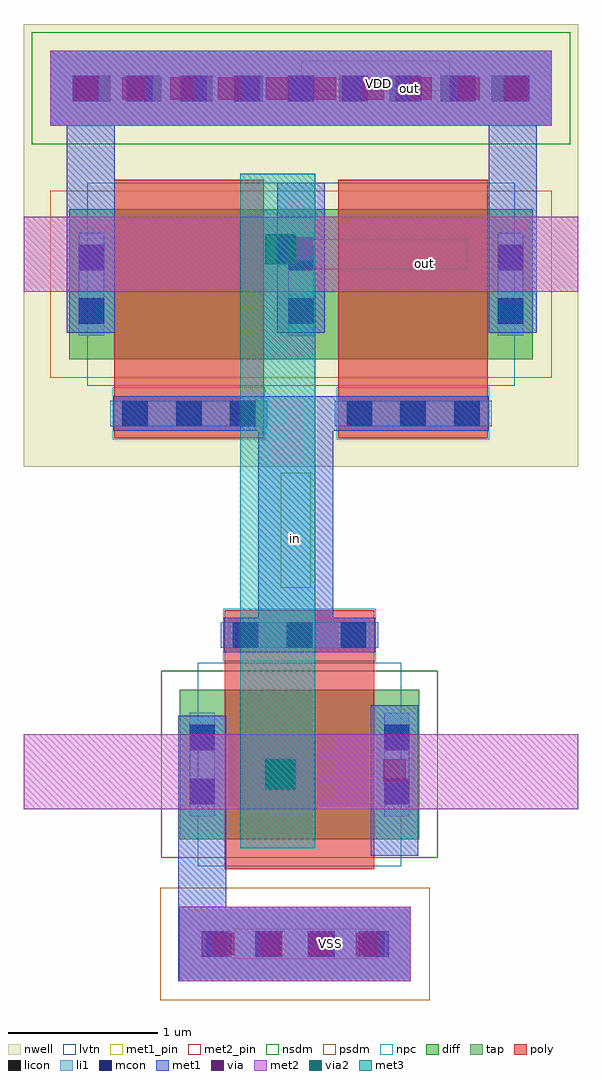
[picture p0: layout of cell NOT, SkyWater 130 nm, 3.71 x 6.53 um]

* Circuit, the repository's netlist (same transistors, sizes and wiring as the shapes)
** sch_path: /foss/designs/BGR_FTK/NOT.sch
.subckt NOT vdd vss in out
*.iopin vdd
*.iopin vss
*.ipin in
*.opin out
XM6 out in vss vss sky130_fd_pr__nfet_01v8_lvt L=1 W=1 nf=1 ad=0.29 as=0.29 pd=2.58 ps=2.58 nrd=0.29 nrs=0.29 sa=0 sb=0 sd=0
+ mult=1
XM1 out in vdd vdd sky130_fd_pr__pfet_01v8_lvt L=1 W=2 nf=2 ad=0.29 as=0.58 pd=2.58 ps=5.16 nrd=0.145 nrs=0.145 sa=0 sb=0 sd=0
+ mult=1
.ends
.end

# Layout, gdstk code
import gdstk
lib = gdstk.Library(unit=1e-6, precision=5e-09)
def R(c, l, rs):  # rectangles x0, y0, x1, y1
    for r in rs: c.add(gdstk.rectangle(r[:2], r[2:], *l))
def A(c, l, x, y, w, h, nx, ny, dx, dy):  # array of equal rectangles
    R(c, l, [(x+i*dx, y+j*dy, x+i*dx+w, y+j*dy+h) for i in range(nx) for j in range(ny)])
nwell = (64, 20)
diff = (65, 20)
tap = (65, 44)
poly = (66, 20)
licon = (66, 44)
li1 = (67, 20)
mcon = (67, 44)
met1_pin = (68, 16)
met1 = (68, 20)
via = (68, 44)
met2_pin = (69, 16)
met2 = (69, 20)
via2 = (69, 44)
met3 = (70, 20)
nsdm = (93, 44)
psdm = (94, 20)
npc = (95, 20)
lvtn = (125, 44)

nfet = lib.new_cell('nfet')
R(nfet, diff, [(0,0,1.6,1)])
R(nfet, poly, [(0.3,-0.2,1.3,1.2), (0.3,1.2,1.3,1.53)])
A(nfet, licon, 0.355, 1.28, 0.17, 0.17, 3, 1, 0.36, 0)
R(nfet, licon, [(0.065,0.235,0.235,0.405), (1.365,0.235,1.535,0.405), (0.065,0.595,0.235,0.765), (1.365,0.595,1.535,0.765)])
R(nfet, li1, [(0.065,0.155,0.235,0.845), (1.365,0.155,1.535,0.845), (0.275,1.28,1.325,1.45)])
A(nfet, mcon, 0.355, 1.28, 0.17, 0.17, 3, 1, 0.36, 0)
R(nfet, mcon, [(0.065,0.235,0.235,0.405), (1.365,0.235,1.535,0.405), (0.065,0.595,0.235,0.765), (1.365,0.595,1.535,0.765)])
R(nfet, met1, [(0.035,0.175,0.265,0.825), (1.335,0.175,1.565,0.825), (0.295,1.25,1.305,1.48)])
R(nfet, nsdm, [(-0.125,-0.125,1.725,1.125)])
R(nfet, npc, [(0.29,1.19,1.31,1.54)])
R(nfet, lvtn, [(0.12,-0.18,1.48,1.18)])

pfet = lib.new_cell('pfet')
R(pfet, nwell, [(-0.305,-0.72,3.405,1.38)])
R(pfet, diff, [(0,0,3.1,1)])
R(pfet, poly, [(0.3,-0.53,1.3,-0.2), (1.8,-0.53,2.8,-0.2), (0.3,-0.2,1.3,1.2), (1.8,-0.2,2.8,1.2)])
A(pfet, licon, 0.355, -0.45, 0.17, 0.17, 3, 1, 0.36, 0)
A(pfet, licon, 1.855, -0.45, 0.17, 0.17, 3, 1, 0.36, 0)
A(pfet, licon, 0.065, 0.235, 0.17, 0.17, 3, 2, 1.4, 0.36)
A(pfet, li1, 0.065, 0.155, 0.17, 0.69, 3, 1, 1.4, 0)
R(pfet, li1, [(0.275,-0.45,1.325,-0.28), (1.775,-0.45,2.825,-0.28)])
A(pfet, mcon, 0.355, -0.45, 0.17, 0.17, 3, 1, 0.36, 0)
A(pfet, mcon, 1.855, -0.45, 0.17, 0.17, 3, 1, 0.36, 0)
A(pfet, mcon, 0.065, 0.235, 0.17, 0.17, 3, 2, 1.4, 0.36)
A(pfet, met1, 0.035, 0.175, 0.23, 0.65, 3, 1, 1.4, 0)
R(pfet, met1, [(0.295,-0.48,1.305,-0.25), (1.795,-0.48,2.805,-0.25)])
R(pfet, psdm, [(-0.125,-0.125,3.225,1.125)])
R(pfet, npc, [(0.29,-0.54,1.31,-0.19), (1.79,-0.54,2.81,-0.19)])
R(pfet, lvtn, [(0.12,-0.18,2.98,1.18)])

vias_gen = lib.new_cell('vias_gen')
R(vias_gen, nwell, [(-0.18,-0.18,3.53,0.68)])
R(vias_gen, tap, [(0,0,3.35,0.5)])
A(vias_gen, licon, 0.23, 0.165, 0.17, 0.17, 9, 1, 0.34, 0)
R(vias_gen, li1, [(0,0,3.35,0.5)])
A(vias_gen, mcon, 0.15, 0.165, 0.17, 0.17, 9, 1, 0.36, 0)
R(vias_gen, met1, [(0,0,3.35,0.5)])
A(vias_gen, via, 0.16, 0.175, 0.15, 0.15, 10, 1, 0.32, 0)
R(vias_gen, met2, [(0,0,3.35,0.5)])
R(vias_gen, nsdm, [(-0.125,-0.125,3.475,0.625)])

vias_gen_7 = lib.new_cell('vias_gen$7')
R(vias_gen_7, tap, [(0,0,1.55,0.5)])
A(vias_gen_7, licon, 0.18, 0.165, 0.17, 0.17, 4, 1, 0.34, 0)
R(vias_gen_7, li1, [(0,0,1.55,0.5)])
A(vias_gen_7, mcon, 0.15, 0.165, 0.17, 0.17, 4, 1, 0.36, 0)
R(vias_gen_7, met1, [(0,0,1.55,0.5)])
A(vias_gen_7, via, 0.22, 0.175, 0.15, 0.15, 4, 1, 0.32, 0)
R(vias_gen_7, met2, [(0,0,1.55,0.5)])
R(vias_gen_7, psdm, [(-0.125,-0.125,1.675,0.625)])

vias_gen_4 = lib.new_cell('vias_gen$4')
R(vias_gen_4, met1, [(0,0,0.32,0.26)])
R(vias_gen_4, via, [(0.085,0.055,0.235,0.205)])
R(vias_gen_4, met2, [(0,0,0.32,0.26)])

vias_gen_6 = lib.new_cell('vias_gen$6')
R(vias_gen_6, met2, [(0,0,0.37,0.33)])
R(vias_gen_6, via2, [(0.085,0.065,0.285,0.265)])
R(vias_gen_6, met3, [(0,0,0.37,0.33)])

not_ = lib.new_cell('NOT')
not_.add(gdstk.FlexPath([(1.855,4.46),(1.855,5.465)], 0.32, ends="flush", simple_path=True, layer=68, datatype=20))  # met1
not_.add(gdstk.FlexPath([(0.45,4.46),(0.45,6.275)], 0.32, ends="flush", simple_path=True, layer=68, datatype=20))  # met1
not_.add(gdstk.FlexPath([(3.27,4.46),(3.27,6.275)], 0.32, ends="flush", simple_path=True, layer=68, datatype=20))  # met1
not_.add(gdstk.FlexPath([(1.195,1.9),(1.195,0.125)], 0.32, ends="flush", simple_path=True, layer=68, datatype=20))  # met1
not_.add(gdstk.FlexPath([(2.48,0.965),(2.48,1.97)], 0.32, ends="flush", simple_path=True, layer=68, datatype=20))  # met1
not_.add(gdstk.FlexPath([(2.105,3.92),(1.45,3.92)], 0.23, ends="flush", simple_path=True, layer=68, datatype=20))  # met1
not_.add(gdstk.FlexPath([(1.82,2.465),(1.82,3.92)], 0.5, ends="flush", simple_path=True, layer=68, datatype=20))  # met1
not_.add(gdstk.FlexPath([(0,4.985),(3.71,4.985)], 0.5, ends="flush", simple_path=True, layer=69, datatype=20))  # met2
not_.add(gdstk.FlexPath([(0,1.525),(3.71,1.525)], 0.5, ends="flush", simple_path=True, layer=69, datatype=20))  # met2
not_.add(gdstk.FlexPath([(1.7,5.525),(1.7,1.015)], 0.5, ends="flush", simple_path=True, layer=70, datatype=20))  # met3
not_.add(gdstk.FlexPath([(1.82,3.525),(1.82,2.755)], 0.2, ends="flush", simple_path=True, layer=68, datatype=16))  # met1_pin
not_.add(gdstk.FlexPath([(2.97,4.985),(1.855,4.985)], 0.2, ends="flush", simple_path=True, layer=69, datatype=16))  # met2_pin
not_.add(gdstk.FlexPath([(2.85,6.18),(1.855,6.18)], 0.2, ends="flush", simple_path=True, layer=69, datatype=16))  # met2_pin
not_.add(gdstk.FlexPath([(2.37,0.375),(1.41,0.375)], 0.2, ends="flush", simple_path=True, layer=69, datatype=16))  # met2_pin
not_.add(gdstk.Reference(nfet, (1.045,1.075)))
not_.add(gdstk.Reference(pfet, (0.305,4.285)))
not_.add(gdstk.Reference(vias_gen, (0.18,5.845)))
not_.add(gdstk.Reference(vias_gen_7, (1.04,0.125)))
not_.add(gdstk.Reference(vias_gen_4, (1.695,4.895)))
not_.add(gdstk.Reference(vias_gen_4, (2.32,1.405)))
not_.add(gdstk.Reference(vias_gen_6, (1.53,4.855)))
not_.add(gdstk.Reference(vias_gen_6, (1.53,1.345)))
not_.add(gdstk.Label('in', (1.82,3.085), layer=68, texttype=16))
not_.add(gdstk.Label('out', (2.68,4.925), layer=69, texttype=16))
not_.add(gdstk.Label('out', (2.58,6.095), layer=69, texttype=16))
not_.add(gdstk.Label('VDD', (2.37,6.125), layer=69, texttype=16))
not_.add(gdstk.Label('VSS', (2.05,0.375), layer=69, texttype=16))

lib.write_gds('NOT.gds')
